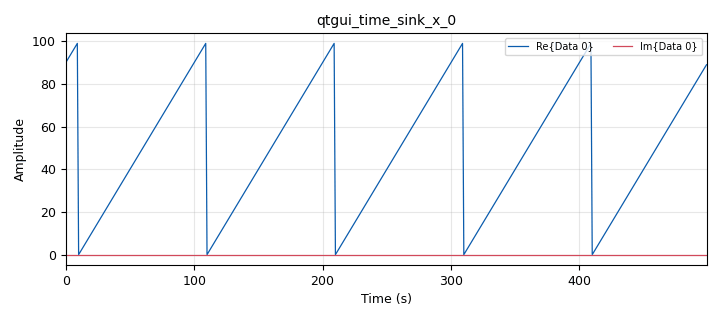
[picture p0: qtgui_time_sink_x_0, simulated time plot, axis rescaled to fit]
options:
  parameters:
    author: yango
    generate_options: qt_gui
    id: delayBlock
    output_language: python
    title: Not titled yet
  states: {}

blocks:
- name: samp_rate
  id: variable
  parameters:
    value: '32000'
  states: {}
- name: blocks_add_xx_0
  id: blocks_add_xx
  parameters:
    type: complex
  states: {}
- name: blocks_delay_0
  id: blocks_delay
  parameters:
    delay: '10'
    type: complex
  states: {}
- name: blocks_tags_strobe_0
  id: blocks_tags_strobe
  parameters:
    key: pmt.intern("strobe")
    nsamps: '100'
    type: complex
    value: pmt.intern("TEST")
  states: {}
- name: blocks_vector_source_x_0
  id: blocks_vector_source_x
  parameters:
    repeat: 'True'
    type: complex
    vector: range(100)
  states: {}
- name: qtgui_time_sink_x_0
  id: qtgui_time_sink_x
  parameters:
    size: '500'
    srate: '1'
    type: complex
  states: {}

connections:
- [blocks_add_xx_0, '0', blocks_delay_0, '0']
- [blocks_delay_0, '0', qtgui_time_sink_x_0, '0']
- [blocks_tags_strobe_0, '0', blocks_add_xx_0, '1']
- [blocks_vector_source_x_0, '0', blocks_add_xx_0, '0']

metadata:
  file_format: 1
